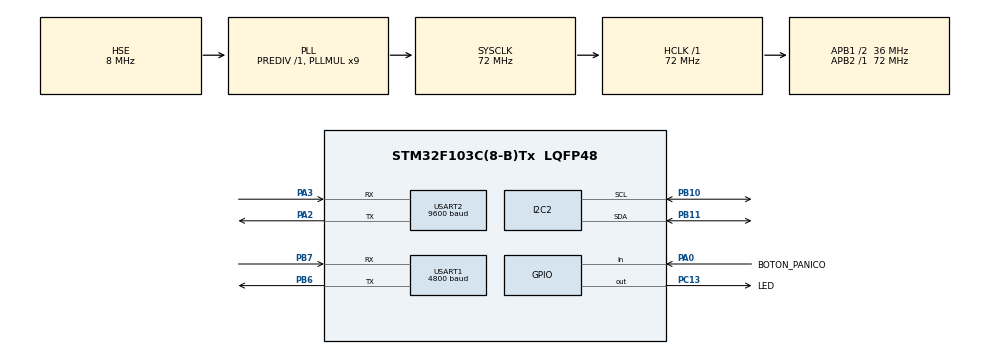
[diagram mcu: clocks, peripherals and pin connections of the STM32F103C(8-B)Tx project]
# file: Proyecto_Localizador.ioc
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I2C2.I2C_Mode=I2C_Fast
Mcu.Family=STM32F1
Mcu.Name=STM32F103C(8-B)Tx
Mcu.Package=LQFP48
NVIC.PriorityGroup=NVIC_PRIORITYGROUP_4
NVIC.TIM1_CC_IRQn=true\:0\:0\:false\:false\:true\:true\:true
NVIC.USART1_IRQn=true\:0\:0\:false\:false\:true\:true\:true
NVIC.USART2_IRQn=true\:0\:0\:false\:false\:true\:true\:true
PA0-WKUP.GPIO_Label=BOTON_PANICO
PA0-WKUP.Signal=GPIO_Input
PA13.Mode=Serial_Wire
PA13.Signal=SYS_JTMS-SWDIO
PA14.Mode=Serial_Wire
PA14.Signal=SYS_JTCK-SWCLK
PA2.Mode=Asynchronous
PA2.Signal=USART2_TX
PA3.Mode=Asynchronous
PA3.Signal=USART2_RX
PB10.Mode=I2C
PB10.Signal=I2C2_SCL
PB11.Mode=I2C
PB11.Signal=I2C2_SDA
PB6.Mode=Asynchronous
PB6.Signal=USART1_TX
PB7.Mode=Asynchronous
PB7.Signal=USART1_RX
PC13-TAMPER-RTC.GPIO_Label=LED
PC13-TAMPER-RTC.Signal=GPIO_Output
PD0-OSC_IN.Mode=HSE-External-Oscillator
PD0-OSC_IN.Signal=RCC_OSC_IN
PD1-OSC_OUT.Mode=HSE-External-Oscillator
PD1-OSC_OUT.Signal=RCC_OSC_OUT
ProjectManager.HeapSize=0x200
ProjectManager.StackSize=0x400
ProjectManager.TargetToolchain=STM32CubeIDE
RCC.AHBFreq_Value=72000000
RCC.APB1CLKDivider=RCC_HCLK_DIV2
RCC.APB1Freq_Value=36000000
RCC.APB1TimFreq_Value=72000000
RCC.APB2Freq_Value=72000000
RCC.APB2TimFreq_Value=72000000
RCC.HCLKFreq_Value=72000000
RCC.PLLMUL=RCC_PLL_MUL9
RCC.PLLSourceVirtual=RCC_PLLSOURCE_HSE
RCC.SYSCLKFreq_VALUE=72000000
RCC.SYSCLKSource=RCC_SYSCLKSOURCE_PLLCLK
RCC.USBFreq_Value=72000000
TIM1.Channel-Output\ Compare1\ No\ Output=TIM_CHANNEL_1
TIM1.Channel-Output\ Compare2\ No\ Output=TIM_CHANNEL_2
TIM1.Period=65535
TIM1.Prescaler=30000
TIM1.Pulse-Output\ Compare1\ No\ Output=2400
TIM1.Pulse-Output\ Compare2\ No\ Output=120
USART1.BaudRate=4800
USART1.VirtualMode=VM_ASYNC
USART1.WordLength=WORDLENGTH_8B
USART2.BaudRate=9600
USART2.VirtualMode=VM_ASYNC
VP_TIM1_VS_ClockSourceINT.Mode=Internal
VP_TIM1_VS_no_output1.Mode=Output Compare1 No Output
VP_TIM1_VS_no_output2.Mode=Output Compare2 No Output
board=custom

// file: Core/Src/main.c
/* USER CODE BEGIN Header */
/**
  ******************************************************************************
  * @file           : main.c
  * @brief          : Main program body
  * @author         : Nicolas Agostino
  ******************************************************************************
  * @attention
  *
  * <h2><center>&copy; Copyright (c) 2023 STMicroelectronics.
  * All rights reserved.</center></h2>
  *
  * This software component is licensed by ST under BSD 3-Clause license,
  * the "License"; You may not use this file except in compliance with the
  * License. You may obtain a copy of the License at:
  *                        opensource.org/licenses/BSD-3-Clause
  *
  ******************************************************************************
  */
/* USER CODE END Header */
#include "main.h"

/* USER CODE BEGIN Includes */
#include "defines.h"
/* USER CODE END Includes */

I2C_HandleTypeDef hi2c2;

TIM_HandleTypeDef htim1;

UART_HandleTypeDef huart1;
UART_HandleTypeDef huart2;

/* USER CODE BEGIN PV */
//TIMERS
_Bool flag_1s=0;
_Bool flag_50ms=0;
uint8_t contador_100ms;
uint8_t contador_20s;
//MPU6050

extern float Ax;
extern float Ay;
extern float Az;
extern float Gx;
extern float Gy;
extern float Gz;
uint8_t movimiento_brusco_on=0;
//Boton de Pánico
unsigned int delay_boton;
unsigned int estado_boton;

uint8_t cadena[3];
#ifdef USE_SIM808
//Modem
extern uint8_t mensaje_enviandose;
extern uint32_t contador_comando;
extern uint8_t comando_a_recibir;
extern uint8_t estado_envio_SMS;
extern uint8_t contador_seg;
#endif

#ifdef USE_GPS
//GPS
extern struct GPS_Data GPS_aux;
extern _Bool flag_primer_GPS;
#endif
//Led
uint8_t contador_led=0;
/* USER CODE END PV */

void SystemClock_Config(void);
static void MX_GPIO_Init(void);
static void MX_I2C2_Init(void);
static void MX_USART1_UART_Init(void);
static void MX_TIM1_Init(void);
static void MX_USART2_UART_Init(void);

/* USER CODE BEGIN 0 */
void HAL_TIM_OC_DelayElapsedCallback (TIM_HandleTypeDef *htim)
{
	uint32_t pulse;
	if (htim->Channel == HAL_TIM_ACTIVE_CHANNEL_1) {
		//Acá entra cada 1seg
		flag_1s=1;

		if(contador_seg!=0)
			contador_seg++;

		pulse = HAL_TIM_ReadCapturedValue(htim, TIM_CHANNEL_1);
		__HAL_TIM_SET_COMPARE(htim, TIM_CHANNEL_1, (pulse + (2400)));
	}
	if (htim->Channel == HAL_TIM_ACTIVE_CHANNEL_2) {
		//Acá entra cada 50ms
		flag_50ms=1;
		pulse = HAL_TIM_ReadCapturedValue(htim, TIM_CHANNEL_2);
		__HAL_TIM_SET_COMPARE(htim, TIM_CHANNEL_2, (pulse + (120)));
	}
}

//********************************************************************************
// Función:				  Verificar_Boton
//
// Descripción:	Verifica que el boton se haya pulsado correctamente (anti-rebote)
//		 (Si se agregan más botones habría que hacer un buffer para estado_boton)
//********************************************************************************
_Bool Verificar_Boton(GPIO_TypeDef *BOTONx, uint16_t BOTON_Pin)
{
	switch(estado_boton)
	{
		  default:
		  case EST_UP:
			  if(HAL_GPIO_ReadPin(BOTONx, BOTON_Pin)==0)
			  {
				  estado_boton=EST_FALLING;
				  Delay_ms(FALLING_TIME);
			  }
			  break;

		  case EST_FALLING:
			  if(!delay_boton)
			  {
				if(HAL_GPIO_ReadPin(BOTONx, BOTON_Pin)==0)
				{
					estado_boton=EST_DOWN;
					Delay_ms(DOWN_TIME);
				}
				else
					estado_boton=EST_UP;
			  }
			  break;

		  case EST_DOWN:
			  if((!delay_boton)&&(HAL_GPIO_ReadPin(BOTONx, BOTON_Pin)==1))
			  {
				  estado_boton=EST_RISING;
				  Delay_ms(RISING_TIME);
			  }
			  break;

		  case EST_RISING:
			  if(!delay_boton)
			  {
				if(HAL_GPIO_ReadPin(BOTONx, BOTON_Pin)==1)
				{
					estado_boton=EST_UP;

					//Damos como valida la pulsación del botón
					if((BOTONx==BOTON_PANICO_GPIO_Port)&&(BOTON_Pin==BOTON_PANICO_Pin))
						return(true);
				}
				else
				{
					estado_boton=EST_DOWN;
					Delay_ms(DOWN_TIME);
				}
			  }
			  break;
	}

	return(false);
}

//********************************************************************************
// Función:				  Delay_ms
//
// Descripción:	Recargo el tiempo de delay para el pulsador
//				(Si se agregan más botones habría que hacer un buffer)
//********************************************************************************
void Delay_ms(unsigned int tiempo)
{
	delay_boton = tiempo;
}

//********************************************************************************
// Función:				  send_uart
//
// Descripción:	Envia una cadena de caracteres por la UART seleccionada
//********************************************************************************
void send_uart(char *string, uint8_t uart_a_enviar)
{
	uint8_t len = strlen(string);

	switch(uart_a_enviar)
	{
		case UART_1:
			HAL_UART_Transmit(&huart1, (uint8_t*) string, len, 2000);
			break;

		case UART_2:
			HAL_UART_Transmit(&huart2, (uint8_t*) string, len, 2000);
			break;

		default:
			break;
	}

}

//********************************************************************************
// Función:				  buffsize
//
// Descripción:	Calcula el tamaño del buffer
//********************************************************************************
int bufsize (char *buff)
{
	int i=0;
	while(*buff++ != '\0') i++;
	return i;
}
//********************************************************************************
// Función:				  Manejo_Led
//
// Descripción:	Se modifica la velocidad en la que titila el led segun el estado
//********************************************************************************
void Manejo_Led(void)
{

	//Aca entra cada 50ms;
	contador_led++;

#ifdef USE_SIM808
	if(mensaje_enviandose != 0)
	{
		//Si está enviando un SMS titila bien rápido (c/ 100ms)
		if(contador_led>1)
		{
			HAL_GPIO_TogglePin(LED_GPIO_Port, LED_Pin);
			contador_led=0;
		}
	}
	else if(GPS_aux.Estado != 'A')
	{
		//Si no tiene GPS titila rápido, pero no tanto como cuando manda un SMS (c/ 300ms)
		if(contador_led>5)
		{
			HAL_GPIO_TogglePin(LED_GPIO_Port, LED_Pin);
			contador_led=0;
		}
	}
	else
	{
#endif
		//En estado normal titila lento (c/ 1s)
		if(contador_led>19)
		{
			HAL_GPIO_TogglePin(LED_GPIO_Port, LED_Pin);
			contador_led=0;
		}

#ifdef USE_SIM808
	}
#endif

}

/* USER CODE END 0 */

int main(void)
{
  /* USER CODE BEGIN 1 */
	char BufferDebug[100];
	//uint8_t data_a[3];
  /* USER CODE END 1 */

  /* MCU Configuration--------------------------------------------------------*/

  /* Reset of all peripherals, Initializes the Flash interface and the Systick. */
  HAL_Init();

  /* Configure the system clock */
  SystemClock_Config();

  /* Initialize all configured peripherals */
  MX_GPIO_Init();
  MX_I2C2_Init();
  MX_USART1_UART_Init();
  MX_TIM1_Init();
  MX_USART2_UART_Init();
  /* USER CODE BEGIN 2 */
  mpu6050Init();
  //HAL_UART_Receive_IT(&huart1, &byte1, 1);

  HAL_UART_Receive_IT(&huart1, cadena, 1);
  HAL_UART_Receive_IT(&huart2, cadena, 1);

  send_uart("\n\r ****************************** \n\r",UART_1);
  send_uart("\n\r      Proyecto Localizador      \n\r",UART_1);
  send_uart("\n\r          Version 1.7           \n\r",UART_1);
  send_uart("\n\r ****************************** \n\r",UART_1);

  /* USER CODE END 2 */

  /* Infinite loop */
  while (1)
  {

    /* USER CODE BEGIN 3 */

#ifdef USE_SIM808
	//Verifico si tocó el botón de pánico
	if(Verificar_Boton(BOTON_PANICO))
	{
		Encolar_SMS(MSJ_BOTON_PANICO);
	}
#endif

	/*------------------- Divisor 50ms ---------------------*/
	if(flag_50ms)
	{
		flag_50ms=0;

		contador_100ms++;

		Manejo_Led();

#ifdef USE_SIM808
		if(mensaje_enviandose!=0)
		{
			contador_comando++;

			if(contador_comando > MAXIMA_ESPERA_COMANDOS)
			{
				if(estado_envio_SMS<6)
				{
					estado_envio_SMS=6;//Por si está tirando error pq ya está conectado
					contador_comando=0;
					comando_a_recibir = 0;
				}
				else
				{
					Cancelar_SMS();
				}

			}
		}
#endif

		//Boton de pánico
		if(delay_boton>0)
			delay_boton--;

		mpu6050Config();
		mpu6050GyroRead();
		mpu6050AccelRead();

		if((!movimiento_brusco_on)&&((Gx>VALOR_GIRO_BRUSCO)||(Gy>VALOR_GIRO_BRUSCO)||(Gz>VALOR_GIRO_BRUSCO)||(Gx<(-VALOR_GIRO_BRUSCO))||(Gy<(-VALOR_GIRO_BRUSCO))||(Gz<(-VALOR_GIRO_BRUSCO))))
		{
			movimiento_brusco_on=TIEMPO_MOV_BRUSCO;

			//Envío por puerto serie el valor de los ejes del Acelerómetro
			sprintf(BufferDebug,"Ax: %.2f | Ay: %.2f | Az: %.2f\n\r", Ax, Ay, Az);
			send_uart(BufferDebug,UART_1);
			sprintf(BufferDebug,"Gx: %.2f | Gy: %.2f | Gz: %.2f\n\r", Gx, Gy, Gz);
			send_uart(BufferDebug,UART_1);

#ifdef USE_SIM808
			Encolar_SMS(MSJ_MOV_BRUSCO);
#endif
		}

	}

	/*-------------------- Divisor 100ms --------------------*/
	if(contador_100ms>=2)
	{
		contador_100ms=0;

#ifdef USE_SIM808
		Enviar_SMS();
#endif
	}

	/*-------------------- Divisor 1seg --------------------*/

	if(flag_1s)
	{

#ifdef DEBUG_ACELEROMETRO
		//Envío por puerto serie el valor de los ejes del Acelerómetro
		sprintf(BufferDebug,"Ax: %.2f | Ay: %.2f | Az: %.2f\n\r", Ax, Ay, Az);
		send_uart(BufferDebug,UART_1);
		sprintf(BufferDebug,"Gx: %.2f | Gy: %.2f | Gz: %.2f\n\r", Gx, Gy, Gz);
		send_uart(BufferDebug,UART_1);
#endif

		if(movimiento_brusco_on > 0)
			movimiento_brusco_on--;

		flag_1s=0;

		contador_20s++;

		if(contador_20s > 19)
		{
			contador_20s=0;

			//Cada 20 seg guardo la ubicacion (Si tengo datos GPS y no estoy enviando un SMS)
			if(flag_primer_GPS==true && mensaje_enviandose==false)
			{
				send_uart("\n\r Guardo posicion en FS \n\r",UART_1);
				FS_Guardar_Ubicacion();
			}
		}
	}
	/*------------------------------------------------------*/
  }
  /* USER CODE END 3 */
}

void SystemClock_Config(void)
{
  RCC_OscInitTypeDef RCC_OscInitStruct = {0};
  RCC_ClkInitTypeDef RCC_ClkInitStruct = {0};

  /** Initializes the RCC Oscillators according to the specified parameters
  * in the RCC_OscInitTypeDef structure.
  */
  RCC_OscInitStruct.OscillatorType = RCC_OSCILLATORTYPE_HSE;
  RCC_OscInitStruct.HSEState = RCC_HSE_ON;
  RCC_OscInitStruct.HSEPredivValue = RCC_HSE_PREDIV_DIV1;
  RCC_OscInitStruct.HSIState = RCC_HSI_ON;
  RCC_OscInitStruct.PLL.PLLState = RCC_PLL_ON;
  RCC_OscInitStruct.PLL.PLLSource = RCC_PLLSOURCE_HSE;
  RCC_OscInitStruct.PLL.PLLMUL = RCC_PLL_MUL9;
  if (HAL_RCC_OscConfig(&RCC_OscInitStruct) != HAL_OK)
  {
    Error_Handler();
  }
  /** Initializes the CPU, AHB and APB buses clocks
  */
  RCC_ClkInitStruct.ClockType = RCC_CLOCKTYPE_HCLK|RCC_CLOCKTYPE_SYSCLK
                              |RCC_CLOCKTYPE_PCLK1|RCC_CLOCKTYPE_PCLK2;
  RCC_ClkInitStruct.SYSCLKSource = RCC_SYSCLKSOURCE_PLLCLK;
  RCC_ClkInitStruct.AHBCLKDivider = RCC_SYSCLK_DIV1;
  RCC_ClkInitStruct.APB1CLKDivider = RCC_HCLK_DIV2;
  RCC_ClkInitStruct.APB2CLKDivider = RCC_HCLK_DIV1;

  if (HAL_RCC_ClockConfig(&RCC_ClkInitStruct, FLASH_LATENCY_2) != HAL_OK)
  {
    Error_Handler();
  }
}

static void MX_I2C2_Init(void)
{

  hi2c2.Instance = I2C2;
  hi2c2.Init.ClockSpeed = 400000;
  hi2c2.Init.DutyCycle = I2C_DUTYCYCLE_2;
  hi2c2.Init.OwnAddress1 = 0;
  hi2c2.Init.AddressingMode = I2C_ADDRESSINGMODE_7BIT;
  hi2c2.Init.DualAddressMode = I2C_DUALADDRESS_DISABLE;
  hi2c2.Init.OwnAddress2 = 0;
  hi2c2.Init.GeneralCallMode = I2C_GENERALCALL_DISABLE;
  hi2c2.Init.NoStretchMode = I2C_NOSTRETCH_DISABLE;
  if (HAL_I2C_Init(&hi2c2) != HAL_OK)
  {
    Error_Handler();
  }

}

static void MX_TIM1_Init(void)
{

  TIM_ClockConfigTypeDef sClockSourceConfig = {0};
  TIM_MasterConfigTypeDef sMasterConfig = {0};
  TIM_OC_InitTypeDef sConfigOC = {0};
  TIM_BreakDeadTimeConfigTypeDef sBreakDeadTimeConfig = {0};

  htim1.Instance = TIM1;
  htim1.Init.Prescaler = 30000;
  htim1.Init.CounterMode = TIM_COUNTERMODE_UP;
  htim1.Init.Period = 65535;
  htim1.Init.ClockDivision = TIM_CLOCKDIVISION_DIV1;
  htim1.Init.RepetitionCounter = 0;
  htim1.Init.AutoReloadPreload = TIM_AUTORELOAD_PRELOAD_DISABLE;
  if (HAL_TIM_Base_Init(&htim1) != HAL_OK)
  {
    Error_Handler();
  }
  sClockSourceConfig.ClockSource = TIM_CLOCKSOURCE_INTERNAL;
  if (HAL_TIM_ConfigClockSource(&htim1, &sClockSourceConfig) != HAL_OK)
  {
    Error_Handler();
  }
  if (HAL_TIM_OC_Init(&htim1) != HAL_OK)
  {
    Error_Handler();
  }
  sMasterConfig.MasterOutputTrigger = TIM_TRGO_RESET;
  sMasterConfig.MasterSlaveMode = TIM_MASTERSLAVEMODE_DISABLE;
  if (HAL_TIMEx_MasterConfigSynchronization(&htim1, &sMasterConfig) != HAL_OK)
  {
    Error_Handler();
  }
  sConfigOC.OCMode = TIM_OCMODE_TIMING;
  sConfigOC.Pulse = 2400;
  sConfigOC.OCPolarity = TIM_OCPOLARITY_HIGH;
  sConfigOC.OCNPolarity = TIM_OCNPOLARITY_HIGH;
  sConfigOC.OCFastMode = TIM_OCFAST_DISABLE;
  sConfigOC.OCIdleState = TIM_OCIDLESTATE_RESET;
  sConfigOC.OCNIdleState = TIM_OCNIDLESTATE_RESET;
  if (HAL_TIM_OC_ConfigChannel(&htim1, &sConfigOC, TIM_CHANNEL_1) != HAL_OK)
  {
    Error_Handler();
  }
  sConfigOC.Pulse = 120;
  if (HAL_TIM_OC_ConfigChannel(&htim1, &sConfigOC, TIM_CHANNEL_2) != HAL_OK)
  {
    Error_Handler();
  }
  sBreakDeadTimeConfig.OffStateRunMode = TIM_OSSR_DISABLE;
  sBreakDeadTimeConfig.OffStateIDLEMode = TIM_OSSI_DISABLE;
  sBreakDeadTimeConfig.LockLevel = TIM_LOCKLEVEL_OFF;
  sBreakDeadTimeConfig.DeadTime = 0;
  sBreakDeadTimeConfig.BreakState = TIM_BREAK_DISABLE;
  sBreakDeadTimeConfig.BreakPolarity = TIM_BREAKPOLARITY_HIGH;
  sBreakDeadTimeConfig.AutomaticOutput = TIM_AUTOMATICOUTPUT_DISABLE;
  if (HAL_TIMEx_ConfigBreakDeadTime(&htim1, &sBreakDeadTimeConfig) != HAL_OK)
  {
    Error_Handler();
  }
  /* USER CODE BEGIN TIM1_Init 2 */
  HAL_TIM_OC_Start_IT(&htim1, TIM_CHANNEL_1);
  HAL_TIM_OC_Start_IT(&htim1, TIM_CHANNEL_2);
  /* USER CODE END TIM1_Init 2 */

}

static void MX_USART1_UART_Init(void)
{

  huart1.Instance = USART1;
  huart1.Init.BaudRate = 4800;
  huart1.Init.WordLength = UART_WORDLENGTH_8B;
  huart1.Init.StopBits = UART_STOPBITS_1;
  huart1.Init.Parity = UART_PARITY_NONE;
  huart1.Init.Mode = UART_MODE_TX_RX;
  huart1.Init.HwFlowCtl = UART_HWCONTROL_NONE;
  huart1.Init.OverSampling = UART_OVERSAMPLING_16;
  if (HAL_UART_Init(&huart1) != HAL_OK)
  {
    Error_Handler();
  }

}

static void MX_USART2_UART_Init(void)
{

  huart2.Instance = USART2;
  huart2.Init.BaudRate = 9600;
  huart2.Init.WordLength = UART_WORDLENGTH_8B;
  huart2.Init.StopBits = UART_STOPBITS_1;
  huart2.Init.Parity = UART_PARITY_NONE;
  huart2.Init.Mode = UART_MODE_TX_RX;
  huart2.Init.HwFlowCtl = UART_HWCONTROL_NONE;
  huart2.Init.OverSampling = UART_OVERSAMPLING_16;
  if (HAL_UART_Init(&huart2) != HAL_OK)
  {
    Error_Handler();
  }

}

static void MX_GPIO_Init(void)
{
  GPIO_InitTypeDef GPIO_InitStruct = {0};

  /* GPIO Ports Clock Enable */
  __HAL_RCC_GPIOC_CLK_ENABLE();
  __HAL_RCC_GPIOD_CLK_ENABLE();
  __HAL_RCC_GPIOA_CLK_ENABLE();
  __HAL_RCC_GPIOB_CLK_ENABLE();

  /*Configure GPIO pin Output Level */
  HAL_GPIO_WritePin(LED_GPIO_Port, LED_Pin, GPIO_PIN_RESET);

  /*Configure GPIO pin : LED_Pin */
  GPIO_InitStruct.Pin = LED_Pin;
  GPIO_InitStruct.Mode = GPIO_MODE_OUTPUT_PP;
  GPIO_InitStruct.Pull = GPIO_NOPULL;
  GPIO_InitStruct.Speed = GPIO_SPEED_FREQ_LOW;
  HAL_GPIO_Init(LED_GPIO_Port, &GPIO_InitStruct);

  /*Configure GPIO pin : BOTON_PANICO_Pin */
  GPIO_InitStruct.Pin = BOTON_PANICO_Pin;
  GPIO_InitStruct.Mode = GPIO_MODE_INPUT;
  GPIO_InitStruct.Pull = GPIO_NOPULL;
  HAL_GPIO_Init(BOTON_PANICO_GPIO_Port, &GPIO_InitStruct);

}

/* USER CODE BEGIN 4 */

//********************************************************************************
// Función:				  HAL_UART_RxCpltCallback
//
// Descripción:	Recepción de datos por UART
//
//********************************************************************************
void HAL_UART_RxCpltCallback(UART_HandleTypeDef *huart)
{
#if defined (USE_GPS) ||  defined (USE_SIM808)
	uint8_t dato_recibido = cadena[0];
#endif

	if(huart->Instance == USART1)
	{
		//Interrupción por recepción de datos por UART1 (GPS)

#ifdef USE_GPS
		Recepcion_GPS(dato_recibido);
#endif

		HAL_UART_Receive_IT(&huart1, cadena, 1);
	}
	else if(huart->Instance == USART2)
	{
		//Interrupción por recepción de datos por UART2 (Modem)

#ifdef USE_SIM808
		Recepcion_Modem(dato_recibido);
#endif

		HAL_UART_Receive_IT(&huart2, cadena, 1);
	}
}
/* USER CODE END 4 */

void Error_Handler(void)
{
  /* USER CODE BEGIN Error_Handler_Debug */
  /* User can add his own implementation to report the HAL error return state */
  __disable_irq();
  while (1)
  {
	  //Si entra acá es porque hubo algun error
	  //Verificar la frecuencia de los SPI, I2C, etc
  }
  /* USER CODE END Error_Handler_Debug */
}

/************************ (C) COPYRIGHT STMicroelectronics *****END OF FILE****/
